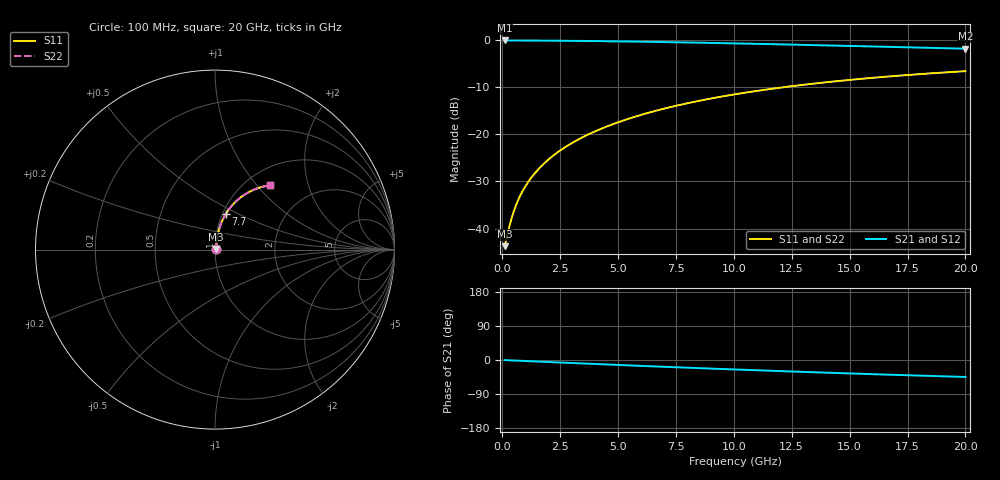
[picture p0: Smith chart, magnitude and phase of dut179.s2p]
! Touchstone file exported from HFSS 2024.1.0
!  File:  C:/UserFiles/LocalFiles/RDL_TSV_Batchsim/temp_RDL_bottom_179_1778698603.aedt
!  Generated:  02:59:46 AM May 14, 2026
!  Design:  RDL_bottom
!  Project:  temp_RDL_bottom_179_1778698603
!  Setup:  Setup1
!  Solution:  Sweep
! Variables:
!  dtsv = 10.80580581um
!  hbump = 3um
!  htsv = 50.36um
!  ldown = 590.95um
!  lrdl = 100um
!  p = 40
!  p1 = 49.48um
!  rhole = 1um
!  t = 450um
!  tdown = 2.28um
!  trdl = 3.915915916um
!  wdown = 16.17um
!  wrdl = 20um
# GHz S MA R 50.000000
! Terminal data exported
! Port[1] = RDL1_T1
! Port[2] = RDL1_T2
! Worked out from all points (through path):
!   200 points, 100 MHz to 20 GHz, reference 50 ohm
!   highest |S21| = -0.05 dB at 100 MHz (marker M1); lowest = -1.8 dB at 20 GHz (marker M2)
!   group delay of S21, straight-line fit = 6.21 ps
!   lowest |S11| = -43.7 dB at 100 MHz (marker M3), VSWR 1.01, Z = 50.6 + j0.287 ohm
!   |S11| at or under -10 dB: start of sweep to 12.12 GHz
!   |S22| runs from -43.7 to -6.6 dB; largest |S21 - S12| = 4.1e-15
!   S11 on the Smith chart (normalised r, x): 100 MHz: 1.01, +0.01; 7.7 GHz: 1.04, +0.43; 20 GHz: 1.27, +1.17
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0.1  0.006507 25.9  0.9941 -0.3  0.9941 -0.3  0.006507 25.9
! Gamma 0 0 0 0
! Port Impedance 50 0 50 0
0.3  0.01042 54.2  0.9939 -0.8  0.9939 -0.8  0.01042 54.2
0.4  0.01284 60.7  0.9937 -1.1  0.9937 -1.1  0.01284 60.7
0.5  0.01535 65.0  0.9935 -1.4  0.9935 -1.4  0.01535 65.0
0.6  0.01791 68.0  0.9933 -1.6  0.9933 -1.6  0.01791 68.0
0.7  0.02047 70.2  0.993 -1.9  0.993 -1.9  0.02047 70.2
0.9  0.02563 73.3  0.9925 -2.4  0.9925 -2.4  0.02563 73.3
1.2  0.03338 76.0  0.9918 -3.2  0.9918 -3.2  0.03338 76.0
1.4  0.03858 77.1  0.9912 -3.8  0.9912 -3.8  0.03858 77.1
1.7  0.0464 78.2  0.9903 -4.6  0.9903 -4.6  0.0464 78.2
2.2  0.05955 79.2  0.9885 -5.9  0.9885 -5.9  0.05955 79.2
2.8  0.07545 79.6  0.986 -7.5  0.986 -7.5  0.07545 79.6
3.5  0.09414 79.4  0.9823 -9.3  0.9823 -9.3  0.09414 79.4
4.2  0.1129 78.8  0.978 -11.1  0.978 -11.1  0.1129 78.8
5  0.1345 77.8  0.9725 -13.1  0.9725 -13.1  0.1345 77.8
5.9  0.1587 76.5  0.9654 -15.3  0.9654 -15.3  0.1587 76.5
6.8  0.1827 74.9  0.9577 -17.5  0.9577 -17.5  0.1827 74.9
7.7  0.2065 73.3  0.9493 -19.7  0.9493 -19.7  0.2065 73.3
10.1  0.2679 68.6  0.9249 -25.2  0.9249 -25.2  0.2679 68.6
13.4  0.3451 61.9  0.8882 -32.2  0.8882 -32.2  0.3451 61.9
16.7  0.4124 55.6  0.8502 -38.8  0.8502 -38.8  0.4124 55.6
20  0.4694 49.7  0.8128 -44.8  0.8128 -44.8  0.4694 49.7
